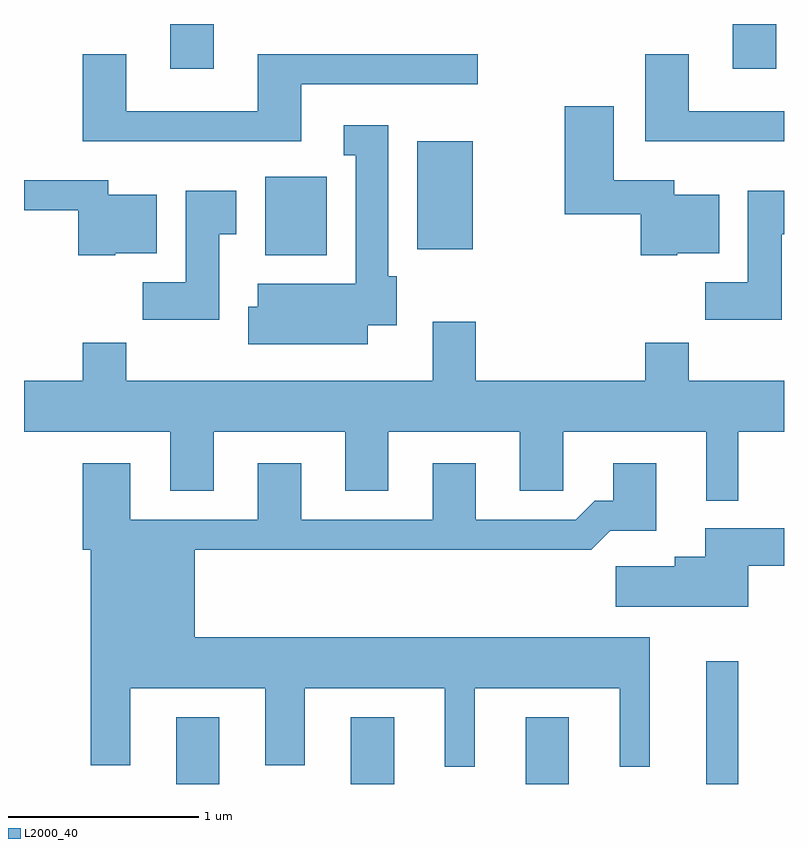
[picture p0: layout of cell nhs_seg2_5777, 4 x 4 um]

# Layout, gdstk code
import gdstk
lib = gdstk.Library(unit=1e-6, precision=1e-09)
def R(c, l, rs):  # rectangles x0, y0, x1, y1
    for r in rs: c.add(gdstk.rectangle(r[:2], r[2:], *l))
def A(c, l, x, y, w, h, nx, ny, dx, dy):  # array of equal rectangles
    R(c, l, [(x+i*dx, y+j*dy, x+i*dx+w, y+j*dy+h) for i in range(nx) for j in range(ny)])
def P(c, l, *ps):  # polygons
    for p in ps: c.add(gdstk.Polygon(p, *l))
L2000_40 = (2000, 40)

nhs_seg2_5777 = lib.new_cell('nhs_seg2_5777')
A(nhs_seg2_5777, L2000_40, 356.411, 1039.802, 0.228, 0.352, 3, 1, 0.92, 0)
R(nhs_seg2_5777, L2000_40, [(359.201,1039.802,359.369,1040.448), (356.881,1042.586,357.204,1042.999), (357.681,1042.616,357.974,1043.184), (356.381,1043.566,356.609,1043.802), (359.341,1043.566,359.569,1043.802)])
P(nhs_seg2_5777, L2000_40, [(359.611,1043.344),(359.109,1043.344),(359.109,1043.644),(358.881,1043.644),(358.881,1043.186),(359.611,1043.186)],
  [(357.069,1043.486),(357.998,1043.486),(357.998,1043.644),(356.841,1043.644),(356.841,1043.344),(356.149,1043.344),(356.149,1043.644),(355.921,1043.644),(355.921,1043.186),(357.069,1043.186)],
  [(359.05,1042.596),(359.269,1042.596),(359.269,1042.904),(359.034,1042.904),(359.034,1042.979),(358.714,1042.979),(358.714,1043.369),(358.456,1043.369),(358.456,1042.801),(358.856,1042.801),(358.856,1042.586),(359.05,1042.586)],
  [(357.419,1042.216),(357.574,1042.216),(357.574,1042.474),(357.529,1042.474),(357.529,1043.269),(357.293,1043.269),(357.293,1043.111),(357.356,1043.111),(357.356,1042.434),(356.841,1042.434),(356.841,1042.314),(356.791,1042.314),(356.791,1042.116),(357.419,1042.116)],
  [(356.09,1042.596),(356.309,1042.596),(356.309,1042.904),(356.054,1042.904),(356.054,1042.979),(355.611,1042.979),(355.611,1042.821),(355.896,1042.821),(355.896,1042.586),(356.09,1042.586)],
  [(359.599,1042.696),(359.611,1042.696),(359.611,1042.924),(359.421,1042.924),(359.421,1042.444),(359.196,1042.444),(359.196,1042.246),(359.599,1042.246)],
  [(356.639,1042.696),(356.729,1042.696),(356.729,1042.924),(356.461,1042.924),(356.461,1042.444),(356.236,1042.444),(356.236,1042.246),(356.639,1042.246)],
  [(359.369,1041.656),(359.611,1041.656),(359.611,1041.924),(359.109,1041.924),(359.109,1042.124),(358.881,1042.124),(358.881,1041.924),(357.989,1041.924),(357.989,1042.234),(357.761,1042.234),(357.761,1041.924),(356.149,1041.924),(356.149,1042.124),(355.921,1042.124),(355.921,1041.924),(355.611,1041.924),(355.611,1041.656),(356.381,1041.656),(356.381,1041.346),(356.609,1041.346),(356.609,1041.656),(357.301,1041.656),(357.301,1041.346),(357.529,1041.346),(357.529,1041.656),(358.221,1041.656),(358.221,1041.346),(358.449,1041.346),(358.449,1041.656),(359.201,1041.656),(359.201,1041.293),(359.369,1041.293)],
  [(357.984,1040.306),(358.746,1040.306),(358.746,1039.892),(358.904,1039.892),(358.904,1040.574),(356.509,1040.574),(356.509,1041.036),(358.597,1041.036),(358.697,1041.136),(358.939,1041.136),(358.939,1041.489),(358.711,1041.489),(358.711,1041.294),(358.614,1041.294),(358.514,1041.194),(357.989,1041.194),(357.989,1041.489),(357.761,1041.489),(357.761,1041.194),(357.069,1041.194),(357.069,1041.489),(356.841,1041.489),(356.841,1041.194),(356.169,1041.194),(356.169,1041.489),(355.921,1041.489),(355.921,1041.036),(355.961,1041.036),(355.961,1039.901),(356.169,1039.901),(356.169,1040.306),(356.881,1040.306),(356.881,1039.901),(357.089,1039.901),(357.089,1040.306),(357.826,1040.306),(357.826,1039.892),(357.984,1039.892)],
  [(359.424,1040.951),(359.611,1040.951),(359.611,1041.149),(359.196,1041.149),(359.196,1040.999),(359.036,1040.999),(359.036,1040.949),(358.726,1040.949),(358.726,1040.736),(359.424,1040.736)])

lib.write_gds('nhs_seg2_5777.gds')
